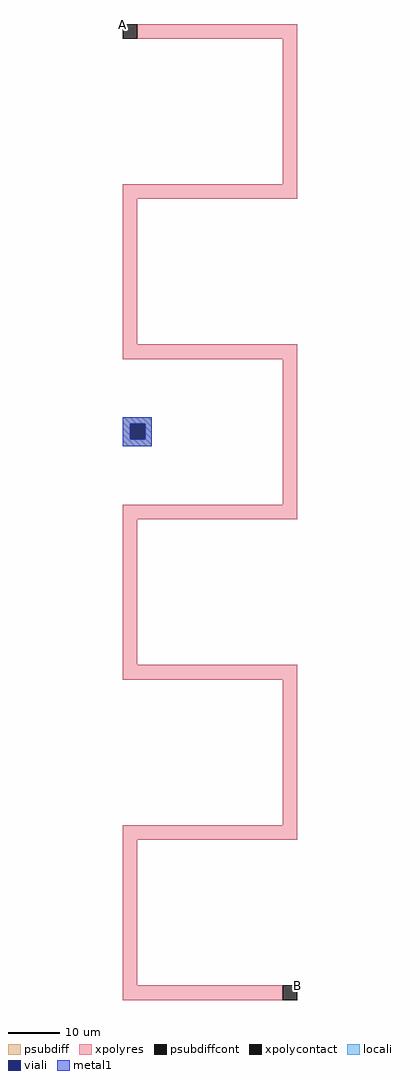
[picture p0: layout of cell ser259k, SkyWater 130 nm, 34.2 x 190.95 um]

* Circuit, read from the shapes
.subckt ser259k A B
XR1 B A VSUBS sky130_fd_pr__res_xhigh_po w=2.85 l=404.7
.ends

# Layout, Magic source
magic
tech sky130A
<< psubdiff >>
rect -1995 -7250 -1425 -7125
rect -1995 -7550 -1850 -7250
rect -1550 -7550 -1425 -7250
rect -1995 -7695 -1425 -7550
<< psubdiffcont >>
rect -1850 -7550 -1550 -7250
<< xpolycontact >>
rect -1995 285 -1710 570
rect 1140 -18525 1425 -18240
<< xpolyres >>
rect -1710 285 1425 570
rect 1140 -2565 1425 285
rect -1995 -2850 1425 -2565
rect -1995 -5700 -1710 -2850
rect -1995 -5985 1425 -5700
rect 1140 -8835 1425 -5985
rect -1995 -9120 1425 -8835
rect -1995 -11970 -1710 -9120
rect -1995 -12255 1425 -11970
rect 1140 -15105 1425 -12255
rect -1995 -15390 1425 -15105
rect -1995 -18240 -1710 -15390
rect -1995 -18525 1140 -18240
<< locali >>
rect -1995 -7250 -1425 -7125
rect -1995 -7550 -1850 -7250
rect -1550 -7550 -1425 -7250
rect -1995 -7695 -1425 -7550
<< viali >>
rect -1850 -7550 -1550 -7250
<< metal1 >>
rect -1995 -7250 -1425 -7125
rect -1995 -7550 -1850 -7250
rect -1550 -7550 -1425 -7250
rect -1995 -7695 -1425 -7550
<< labels >>
rlabel xpolycontact -1995 570 -1995 570 1 A
rlabel xpolycontact 1425 -18240 1425 -18240 1 B
<< end >>
